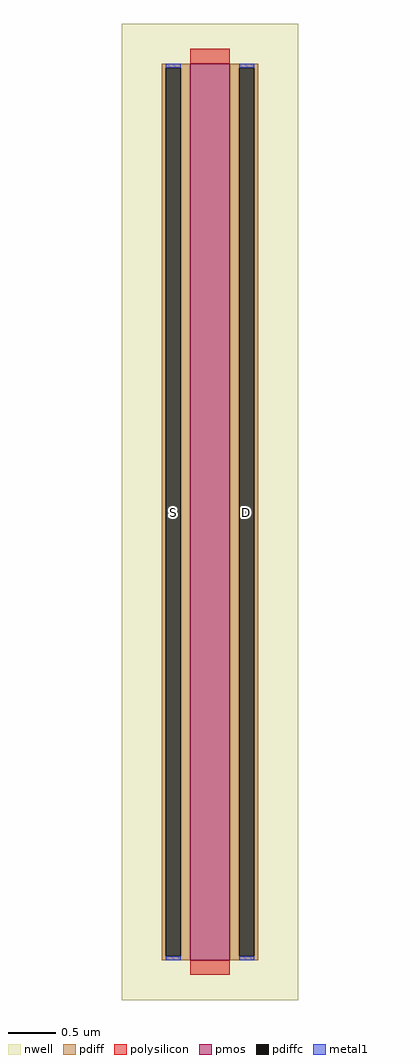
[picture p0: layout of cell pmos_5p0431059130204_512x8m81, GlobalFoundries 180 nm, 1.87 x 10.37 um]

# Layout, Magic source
magic
tech gf180mcuD
magscale 1 10
<< nwell >>
rect -145 -84 229 1989
<< pmos >>
rect 0 0 84 1905
<< pdiff >>
rect -61 1896 0 1905
rect -61 9 -52 1896
rect -20 9 0 1896
rect -61 0 0 9
rect 84 1896 145 1905
rect 84 9 104 1896
rect 136 9 145 1896
rect 84 0 145 9
<< pdiffc >>
rect -52 9 -20 1896
rect 104 9 136 1896
<< polysilicon >>
rect 0 1905 84 1936
rect 0 -30 84 0
<< metal1 >>
rect -52 1896 -20 1905
rect -52 0 -20 9
rect 104 1896 136 1905
rect 104 0 136 9
<< labels >>
flabel pdiffc -36 952 -36 952 0 FreeSans 280 0 0 0 S
flabel pdiffc 120 952 120 952 0 FreeSans 280 0 0 0 D
<< end >>
